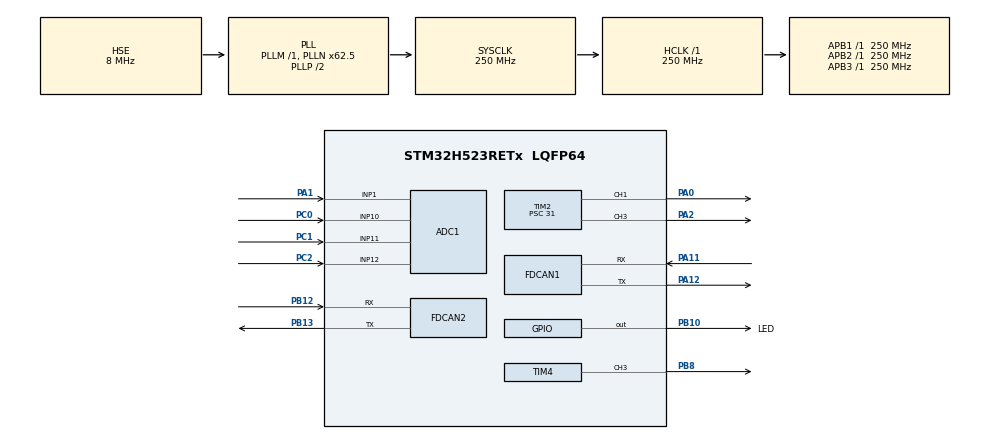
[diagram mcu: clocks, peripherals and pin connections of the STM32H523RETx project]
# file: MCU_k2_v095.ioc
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ADC1.Channel-1\#ChannelRegularConversion=ADC_CHANNEL_1
ADC1.Channel-2\#ChannelRegularConversion=ADC_CHANNEL_10
ADC1.Channel-3\#ChannelRegularConversion=ADC_CHANNEL_11
ADC1.Channel-4\#ChannelRegularConversion=ADC_CHANNEL_12
ADC1.ContinuousConvMode=ENABLE
ADC1.DMAContinuousRequests=ENABLE
ADC1.EOCSelection=ADC_EOC_SEQ_CONV
ADC1.MonitoredBy-1\#ChannelRegularConversion=__NULL
ADC1.MonitoredBy-2\#ChannelRegularConversion=__NULL
ADC1.MonitoredBy-3\#ChannelRegularConversion=__NULL
ADC1.MonitoredBy-4\#ChannelRegularConversion=__NULL
ADC1.NbrOfConversion=4
ADC1.NbrOfConversionFlag=1
ADC1.OffsetNumber-1\#ChannelRegularConversion=ADC_OFFSET_NONE
ADC1.OffsetNumber-2\#ChannelRegularConversion=ADC_OFFSET_NONE
ADC1.OffsetNumber-3\#ChannelRegularConversion=ADC_OFFSET_NONE
ADC1.OffsetNumber-4\#ChannelRegularConversion=ADC_OFFSET_NONE
ADC1.Rank-1\#ChannelRegularConversion=1
ADC1.Rank-2\#ChannelRegularConversion=2
ADC1.Rank-3\#ChannelRegularConversion=3
ADC1.Rank-4\#ChannelRegularConversion=4
ADC1.SamplingTime-1\#ChannelRegularConversion=ADC_SAMPLETIME_640CYCLES_5
ADC1.SamplingTime-2\#ChannelRegularConversion=ADC_SAMPLETIME_640CYCLES_5
ADC1.SamplingTime-3\#ChannelRegularConversion=ADC_SAMPLETIME_640CYCLES_5
ADC1.SamplingTime-4\#ChannelRegularConversion=ADC_SAMPLETIME_640CYCLES_5
ADC1.master=1
BOOTPATH.BootPathName=LEGACY
BOOTPATH.UserSelectedBootPath=LEGACY
CORTEX_M33_NS.userName=CORTEX_M33
FDCAN1.CalculateBaudRateNominal=250000
FDCAN1.CalculateTimeBitNominal=4000
FDCAN1.CalculateTimeQuantumNominal=1000.0
FDCAN1.DataTimeSeg1=21
FDCAN1.ExtFiltersNbr=1
FDCAN1.NominalPrescaler=8
FDCAN1.NominalTimeSeg1=2
FDCAN1.StdFiltersNbr=1
FDCAN2.CalculateBaudRateNominal=250000
FDCAN2.CalculateTimeBitNominal=4000
FDCAN2.CalculateTimeQuantumNominal=1000.0
FDCAN2.DataTimeSeg1=21
FDCAN2.ExtFiltersNbr=1
FDCAN2.NominalPrescaler=8
FDCAN2.NominalTimeSeg1=2
FDCAN2.StdFiltersNbr=1
GPDMA1.CIRCULARMODE_GPDMACH0=ENABLE
GPDMA1.DESTDATAWIDTH_GPDMACH0=DMA_DEST_DATAWIDTH_HALFWORD
GPDMA1.DESTINC_GPDMACH0=DMA_DINC_INCREMENTED
GPDMA1.IPHANDLE_GPDMACH0-SIMPLEREQUEST_GPDMACH0=__NULL
GPDMA1.REQUEST_GPDMACH0=GPDMA1_REQUEST_ADC1
GPDMA1.SRCDATAWIDTH_GPDMACH0=DMA_SRC_DATAWIDTH_HALFWORD
Mcu.Family=STM32H5
Mcu.Name=STM32H523RETx
Mcu.Package=LQFP64
NVIC.ADC1_IRQn=true\:10\:0\:true\:false\:true\:true\:true\:true
NVIC.FDCAN1_IT0_IRQn=true\:1\:0\:true\:false\:true\:true\:true\:true
NVIC.FDCAN2_IT0_IRQn=true\:2\:0\:true\:false\:true\:true\:true\:true
NVIC.GPDMA1_Channel0_IRQn=true\:9\:0\:true\:false\:true\:false\:true\:true
NVIC.PriorityGroup=NVIC_PRIORITYGROUP_4
PA0.Signal=S_TIM2_CH1
PA1.Signal=ADCx_INP1
PA11.GPIO_Speed=GPIO_SPEED_FREQ_VERY_HIGH
PA11.Mode=FDCAN_Activate
PA11.Signal=FDCAN1_RX
PA12.GPIO_Speed=GPIO_SPEED_FREQ_VERY_HIGH
PA12.Mode=FDCAN_Activate
PA12.Signal=FDCAN1_TX
PA2.Signal=S_TIM2_CH3
PB10.GPIO_Label=LED
PB10.Signal=GPIO_Output
PB12.GPIO_Speed=GPIO_SPEED_FREQ_VERY_HIGH
PB12.Mode=FDCAN_Activate
PB12.Signal=FDCAN2_RX
PB13.GPIO_Speed=GPIO_SPEED_FREQ_VERY_HIGH
PB13.Mode=FDCAN_Activate
PB13.Signal=FDCAN2_TX
PB8.Signal=S_TIM4_CH3
PC0.Signal=ADCx_INP10
PC1.Signal=ADCx_INP11
PC2.Signal=ADCx_INP12
PH0-OSC_IN(PH0).Mode=HSE-External-Oscillator
PH0-OSC_IN(PH0).Signal=RCC_OSC_IN
PH1-OSC_OUT(PH1).Mode=HSE-External-Oscillator
PH1-OSC_OUT(PH1).Signal=RCC_OSC_OUT
ProjectManager.HeapSize=0x200
ProjectManager.StackSize=0x400
ProjectManager.TargetToolchain=STM32CubeIDE
RCC.ADCFreq_Value=250000000
RCC.AHBFreq_Value=250000000
RCC.APB1Freq_Value=250000000
RCC.APB1TimFreq_Value=250000000
RCC.APB2Freq_Value=250000000
RCC.APB2TimFreq_Value=250000000
RCC.APB3Freq_Value=250000000
RCC.CSI_VALUE=4000000
RCC.CortexFreq_Value=250000000
RCC.EPOD_VALUE=8000000
RCC.HCLKFreq_Value=250000000
RCC.HSE_VALUE=8000000
RCC.HSI48_VALUE=48000000
RCC.HSI_VALUE=64000000
RCC.LSE_VALUE=32768
RCC.LSIRC_VALUE=32000
RCC.PLL1Q=125
RCC.PLL2FRACN=0
RCC.PLL2Source=RCC_PLL2_SOURCE_HSE
RCC.PLL3FRACN=0
RCC.PLL3Source=RCC_PLL3_SOURCE_HSE
RCC.PLLFRACN=4096
RCC.PLLN=62
RCC.PLLSourceVirtual=RCC_PLL1_SOURCE_HSE
RCC.SYSCLKFreq_VALUE=250000000
RCC.SYSCLKSource=RCC_SYSCLKSOURCE_PLLCLK
RCC.USBFreq_Value=48000000
RCC.VCOOutputFreq_Value=500000000
SH.ADCx_INP1.0=ADC1_INP1,IN1-Single-Ended
SH.ADCx_INP10.0=ADC1_INP10,IN10-Single-Ended
SH.ADCx_INP11.0=ADC1_INP11,IN11-Single-Ended
SH.ADCx_INP12.0=ADC1_INP12,IN12-Single-Ended
SH.S_TIM2_CH1.0=TIM2_CH1,PWM Generation1 CH1
SH.S_TIM2_CH3.0=TIM2_CH3,PWM Generation3 CH3
SH.S_TIM4_CH3.0=TIM4_CH3,PWM Generation3 CH3
TIM2.Channel-PWM\ Generation1\ CH1=TIM_CHANNEL_1
TIM2.Channel-PWM\ Generation3\ CH3=TIM_CHANNEL_3
TIM2.PeriodNoDither=99
TIM2.Prescaler=31
TIM4.Channel-PWM\ Generation3\ CH3=TIM_CHANNEL_3
TIM4.PeriodNoDither=99
TIM4.Prescaler=31
VP_BOOTPATH_VS_BOOTPATH.Mode=BP_Activate
VP_CORTEX_M33_NS_VS_Hclk.Mode=Hclk_Mode
VP_GPDMA1_VS_GPDMACH0.Mode=SIMPLEREQUEST_GPDMACH0
VP_MEMORYMAP_VS_MEMORYMAP.Mode=CurAppReg
VP_PWR_VS_LPOM.Mode=PowerOptimisation
VP_PWR_VS_SECSignals.Mode=Security/Privilege
VP_TIM2_VS_ClockSourceINT.Mode=Internal
VP_TIM4_VS_ClockSourceINT.Mode=Internal
board=custom

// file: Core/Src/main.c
/* USER CODE BEGIN Header */
/**
  ******************************************************************************
  * @file           : main.c
  * @brief          : Main program body
  ******************************************************************************
  * @attention
  *
  * Copyright (c) 2026 STMicroelectronics.
  * All rights reserved.
  *
  * This software is licensed under terms that can be found in the LICENSE file
  * in the root directory of this software component.
  * If no LICENSE file comes with this software, it is provided AS-IS.
  *
  ******************************************************************************
  */
/* USER CODE END Header */
#include "main.h"

/* USER CODE BEGIN Includes */
#include "backend.h"
#include "app.h"

/* USER CODE END Includes */

ADC_HandleTypeDef hadc1;
DMA_NodeTypeDef Node_GPDMA1_Channel0;
DMA_QListTypeDef List_GPDMA1_Channel0;
DMA_HandleTypeDef handle_GPDMA1_Channel0;

FDCAN_HandleTypeDef hfdcan1;
FDCAN_HandleTypeDef hfdcan2;

TIM_HandleTypeDef htim2;
TIM_HandleTypeDef htim4;

void SystemClock_Config(void);
static void MX_GPIO_Init(void);
static void MX_GPDMA1_Init(void);
static void MX_ADC1_Init(void);
static void MX_FDCAN1_Init(void);
static void MX_FDCAN2_Init(void);
static void MX_TIM4_Init(void);
static void MX_TIM2_Init(void);

/* USER CODE BEGIN 0 */

static void FDCAN_StartAll(void)
{
  FDCAN_FilterTypeDef sFilter;

  sFilter.IdType = FDCAN_EXTENDED_ID;
  sFilter.FilterIndex = 0;
  sFilter.FilterType = FDCAN_FILTER_MASK;
  sFilter.FilterConfig = FDCAN_FILTER_TO_RXFIFO0;
  sFilter.FilterID1 = 0x00000000u;
  sFilter.FilterID2 = 0x00000000u;

  HAL_FDCAN_ConfigFilter(&hfdcan1, &sFilter);
  HAL_FDCAN_ConfigFilter(&hfdcan2, &sFilter);

  HAL_FDCAN_Start(&hfdcan1);
  HAL_FDCAN_Start(&hfdcan2);

  HAL_FDCAN_ActivateNotification(
      &hfdcan1,
      FDCAN_IT_RX_FIFO0_NEW_MESSAGE |
          FDCAN_IT_BUS_OFF |
          FDCAN_IT_ERROR_WARNING |
          FDCAN_IT_ERROR_PASSIVE,
      0);

  HAL_FDCAN_ActivateNotification(
      &hfdcan2,
      FDCAN_IT_RX_FIFO0_NEW_MESSAGE |
          FDCAN_IT_BUS_OFF |
          FDCAN_IT_ERROR_WARNING |
          FDCAN_IT_ERROR_PASSIVE,
      0);
}

void USBSendData(uint8_t *Buf)
{
  (void)Buf;
}

typedef struct {
  uint32_t id;
  uint8_t data[8];
  uint8_t bus; /* маска BUS_CAN0/BUS_CAN1 */
} CanTxEntry;

#define CAN_TX_RING_SIZE 256
static CanTxEntry can_tx_ring[CAN_TX_RING_SIZE];
static volatile uint8_t can_tx_head = 0;
static volatile uint8_t can_tx_tail = 0;

static void CanTxEnqueue(uint32_t id, const uint8_t *data, uint8_t busMask)
{
  uint8_t next = (uint8_t)(can_tx_head + 1u);
  if (next >= CAN_TX_RING_SIZE) {
    next = 0u;
  }

  /* При переполнении затираем самый старый пакет */
  if (next == can_tx_tail) {
    can_tx_tail++;
    if (can_tx_tail >= CAN_TX_RING_SIZE) {
      can_tx_tail = 0u;
    }
  }

  can_tx_ring[can_tx_head].id = id;
  can_tx_ring[can_tx_head].bus = busMask;
  for (uint8_t i = 0; i < 8u; i++) {
    can_tx_ring[can_tx_head].data[i] = data[i];
  }
  can_tx_head = next;
}

void App_CanTxProcess(void)
{
  while (can_tx_head != can_tx_tail) {
    CanTxEntry *e = &can_tx_ring[can_tx_tail];
    FDCAN_TxHeaderTypeDef txHeader;

    txHeader.Identifier = e->id;
    txHeader.IdType = FDCAN_EXTENDED_ID;
    txHeader.TxFrameType = FDCAN_DATA_FRAME;
    txHeader.DataLength = FDCAN_DLC_BYTES_8;
    txHeader.ErrorStateIndicator = FDCAN_ESI_ACTIVE;
    txHeader.BitRateSwitch = FDCAN_BRS_OFF;
    txHeader.FDFormat = FDCAN_CLASSIC_CAN;
    txHeader.TxEventFifoControl = FDCAN_NO_TX_EVENTS;
    txHeader.MessageMarker = 0;

    uint8_t sent = 0u;

    if (e->bus & BUS_CAN0) {
      if (HAL_FDCAN_GetTxFifoFreeLevel(&hfdcan1) > 0U) {
        if (HAL_FDCAN_AddMessageToTxFifoQ(&hfdcan1, &txHeader, e->data) == HAL_OK) {
          sent = 1u;
        }
      }
    }
    if (e->bus & BUS_CAN1) {
      if (HAL_FDCAN_GetTxFifoFreeLevel(&hfdcan2) > 0U) {
        if (HAL_FDCAN_AddMessageToTxFifoQ(&hfdcan2, &txHeader, e->data) == HAL_OK) {
          sent = 1u;
        }
      }
    }

    if (sent == 0u) {
      break;
    }

    can_tx_tail++;
    if (can_tx_tail >= CAN_TX_RING_SIZE) {
      can_tx_tail = 0u;
    }
  }
}

void CANSendData(uint8_t *Buf)
{
  uint32_t id = (*(uint32_t *)Buf);
  uint8_t bus = Buf[4 + 8];
  CanTxEnqueue(id, &Buf[4], bus);
}

void HAL_FDCAN_RxFifo0Callback(FDCAN_HandleTypeDef *hfdcan, uint32_t RxFifo0ITs)
{
  if ((RxFifo0ITs & FDCAN_IT_RX_FIFO0_NEW_MESSAGE) == 0U) {
    return;
  }

  FDCAN_RxHeaderTypeDef rxHeader;
  uint8_t data[8];

  uint8_t src_bus;
  uint8_t dst_bus_mask;

  if (hfdcan == &hfdcan1) {
    src_bus = BUS_CAN0;
    dst_bus_mask = BUS_CAN1;
    App_CanOnRx(1u);
  } else {
    src_bus = BUS_CAN1;
    dst_bus_mask = BUS_CAN0;
    App_CanOnRx(2u);
  }

  while (HAL_FDCAN_GetRxFifoFillLevel(hfdcan, FDCAN_RX_FIFO0) > 0U) {
    if (HAL_FDCAN_GetRxMessage(hfdcan, FDCAN_RX_FIFO0, &rxHeader, data) != HAL_OK) {
      break;
    }
    if (rxHeader.IdType != FDCAN_EXTENDED_ID) {
      continue;
    }

    /* Ретрансляция на другой CAN через очередь, если разрешено */
    if (GetRetranslate() == 0) {
      CanTxEnqueue(rxHeader.Identifier, data, dst_bus_mask);
    }

    App_CanRxPush(rxHeader.Identifier, data, src_bus);
  }
}

void HAL_FDCAN_ErrorStatusCallback(FDCAN_HandleTypeDef *hfdcan, uint32_t ErrorStatusITs)
{
  if ((ErrorStatusITs & FDCAN_IT_BUS_OFF) != RESET) {
    FDCAN_ProtocolStatusTypeDef protocolStatus = {};
    HAL_FDCAN_GetProtocolStatus(hfdcan, &protocolStatus);

    if (protocolStatus.BusOff) {
      uint16_t try_cnt = 0xFFFF;
      /* Вход в INIT */
      SET_BIT(hfdcan->Instance->CCCR, FDCAN_CCCR_INIT);
      while (((hfdcan->Instance->CCCR & FDCAN_CCCR_INIT) == 0U) && (try_cnt--)) {}
      /* Выход из INIT */
      CLEAR_BIT(hfdcan->Instance->CCCR, FDCAN_CCCR_INIT);
      while (((hfdcan->Instance->CCCR & FDCAN_CCCR_INIT) != 0U) && (try_cnt--)) {}
    }
  }
}

/* USER CODE END 0 */

int main(void)
{

  /* MCU Configuration--------------------------------------------------------*/

  /* Reset of all peripherals, Initializes the Flash interface and the Systick. */
  HAL_Init();

  /* Configure the system clock */
  SystemClock_Config();

  /* Initialize all configured peripherals */
  MX_GPIO_Init();
  MX_GPDMA1_Init();
  MX_ADC1_Init();
  MX_FDCAN1_Init();
  MX_FDCAN2_Init();
  MX_TIM4_Init();
  MX_TIM2_Init();
  /* USER CODE BEGIN 2 */
  HAL_SetTickFreq(HAL_TICK_FREQ_1KHZ);
  FDCAN_StartAll();
  HAL_ADC_Start_DMA(&hadc1, (uint32_t *)MCU_K2_ADC_VAL, MCU_K2_NUM_ADC_CHANNEL);
  App_Init();

  /* USER CODE END 2 */

  /* Infinite loop */
  while (1)
  {

    /* USER CODE BEGIN 3 */
	    static uint32_t last_tick = 0;
	    uint32_t now = HAL_GetTick();
	    if (now != last_tick) {
	      last_tick = now;
	      App_Timer1ms();
	    }
    App_CanTxProcess();
    /* USER CODE END 3 */
  }
}

void SystemClock_Config(void)
{
  RCC_OscInitTypeDef RCC_OscInitStruct = {0};
  RCC_ClkInitTypeDef RCC_ClkInitStruct = {0};

  /** Configure the main internal regulator output voltage
  */
  __HAL_PWR_VOLTAGESCALING_CONFIG(PWR_REGULATOR_VOLTAGE_SCALE0);

  while(!__HAL_PWR_GET_FLAG(PWR_FLAG_VOSRDY)) {}

  /** Initializes the RCC Oscillators according to the specified parameters
  * in the RCC_OscInitTypeDef structure.
  */
  RCC_OscInitStruct.OscillatorType = RCC_OSCILLATORTYPE_HSE;
  RCC_OscInitStruct.HSEState = RCC_HSE_ON;
  RCC_OscInitStruct.PLL.PLLState = RCC_PLL_ON;
  RCC_OscInitStruct.PLL.PLLSource = RCC_PLL1_SOURCE_HSE;
  RCC_OscInitStruct.PLL.PLLM = 1;
  RCC_OscInitStruct.PLL.PLLN = 62;
  RCC_OscInitStruct.PLL.PLLP = 2;
  RCC_OscInitStruct.PLL.PLLQ = 125;
  RCC_OscInitStruct.PLL.PLLR = 2;
  RCC_OscInitStruct.PLL.PLLRGE = RCC_PLL1_VCIRANGE_3;
  RCC_OscInitStruct.PLL.PLLVCOSEL = RCC_PLL1_VCORANGE_WIDE;
  RCC_OscInitStruct.PLL.PLLFRACN = 4096;
  if (HAL_RCC_OscConfig(&RCC_OscInitStruct) != HAL_OK)
  {
    Error_Handler();
  }

  /** Initializes the CPU, AHB and APB buses clocks
  */
  RCC_ClkInitStruct.ClockType = RCC_CLOCKTYPE_HCLK|RCC_CLOCKTYPE_SYSCLK
                              |RCC_CLOCKTYPE_PCLK1|RCC_CLOCKTYPE_PCLK2
                              |RCC_CLOCKTYPE_PCLK3;
  RCC_ClkInitStruct.SYSCLKSource = RCC_SYSCLKSOURCE_PLLCLK;
  RCC_ClkInitStruct.AHBCLKDivider = RCC_SYSCLK_DIV1;
  RCC_ClkInitStruct.APB1CLKDivider = RCC_HCLK_DIV1;
  RCC_ClkInitStruct.APB2CLKDivider = RCC_HCLK_DIV1;
  RCC_ClkInitStruct.APB3CLKDivider = RCC_HCLK_DIV1;

  if (HAL_RCC_ClockConfig(&RCC_ClkInitStruct, FLASH_LATENCY_5) != HAL_OK)
  {
    Error_Handler();
  }

  /** Configure the programming delay
  */
  __HAL_FLASH_SET_PROGRAM_DELAY(FLASH_PROGRAMMING_DELAY_2);
}

static void MX_ADC1_Init(void)
{

  ADC_ChannelConfTypeDef sConfig = {0};

  /** Common config
  */
  hadc1.Instance = ADC1;
  hadc1.Init.ClockPrescaler = ADC_CLOCK_ASYNC_DIV4;
  hadc1.Init.Resolution = ADC_RESOLUTION_12B;
  hadc1.Init.DataAlign = ADC_DATAALIGN_RIGHT;
  hadc1.Init.ScanConvMode = ADC_SCAN_ENABLE;
  hadc1.Init.EOCSelection = ADC_EOC_SEQ_CONV;
  hadc1.Init.LowPowerAutoWait = DISABLE;
  hadc1.Init.ContinuousConvMode = ENABLE;
  hadc1.Init.NbrOfConversion = 4;
  hadc1.Init.DiscontinuousConvMode = DISABLE;
  hadc1.Init.ExternalTrigConv = ADC_SOFTWARE_START;
  hadc1.Init.ExternalTrigConvEdge = ADC_EXTERNALTRIGCONVEDGE_NONE;
  hadc1.Init.DMAContinuousRequests = ENABLE;
  hadc1.Init.SamplingMode = ADC_SAMPLING_MODE_NORMAL;
  hadc1.Init.Overrun = ADC_OVR_DATA_PRESERVED;
  hadc1.Init.OversamplingMode = DISABLE;
  if (HAL_ADC_Init(&hadc1) != HAL_OK)
  {
    Error_Handler();
  }

  /** Configure Regular Channel
  */
  sConfig.Channel = ADC_CHANNEL_1;
  sConfig.Rank = ADC_REGULAR_RANK_1;
  sConfig.SamplingTime = ADC_SAMPLETIME_640CYCLES_5;
  sConfig.SingleDiff = ADC_SINGLE_ENDED;
  sConfig.OffsetNumber = ADC_OFFSET_NONE;
  sConfig.Offset = 0;
  if (HAL_ADC_ConfigChannel(&hadc1, &sConfig) != HAL_OK)
  {
    Error_Handler();
  }

  /** Configure Regular Channel
  */
  sConfig.Channel = ADC_CHANNEL_10;
  sConfig.Rank = ADC_REGULAR_RANK_2;
  if (HAL_ADC_ConfigChannel(&hadc1, &sConfig) != HAL_OK)
  {
    Error_Handler();
  }

  /** Configure Regular Channel
  */
  sConfig.Channel = ADC_CHANNEL_11;
  sConfig.Rank = ADC_REGULAR_RANK_3;
  if (HAL_ADC_ConfigChannel(&hadc1, &sConfig) != HAL_OK)
  {
    Error_Handler();
  }

  /** Configure Regular Channel
  */
  sConfig.Channel = ADC_CHANNEL_12;
  sConfig.Rank = ADC_REGULAR_RANK_4;
  if (HAL_ADC_ConfigChannel(&hadc1, &sConfig) != HAL_OK)
  {
    Error_Handler();
  }

}

static void MX_FDCAN1_Init(void)
{

  hfdcan1.Instance = FDCAN1;
  hfdcan1.Init.ClockDivider = FDCAN_CLOCK_DIV1;
  hfdcan1.Init.FrameFormat = FDCAN_FRAME_CLASSIC;
  hfdcan1.Init.Mode = FDCAN_MODE_NORMAL;
  hfdcan1.Init.AutoRetransmission = DISABLE;
  hfdcan1.Init.TransmitPause = DISABLE;
  hfdcan1.Init.ProtocolException = DISABLE;
  hfdcan1.Init.NominalPrescaler = 8;
  hfdcan1.Init.NominalSyncJumpWidth = 1;
  hfdcan1.Init.NominalTimeSeg1 = 2;
  hfdcan1.Init.NominalTimeSeg2 = 1;
  hfdcan1.Init.DataPrescaler = 1;
  hfdcan1.Init.DataSyncJumpWidth = 1;
  hfdcan1.Init.DataTimeSeg1 = 21;
  hfdcan1.Init.DataTimeSeg2 = 1;
  hfdcan1.Init.StdFiltersNbr = 1;
  hfdcan1.Init.ExtFiltersNbr = 1;
  hfdcan1.Init.TxFifoQueueMode = FDCAN_TX_FIFO_OPERATION;
  if (HAL_FDCAN_Init(&hfdcan1) != HAL_OK)
  {
    Error_Handler();
  }

}

static void MX_FDCAN2_Init(void)
{

  hfdcan2.Instance = FDCAN2;
  hfdcan2.Init.ClockDivider = FDCAN_CLOCK_DIV1;
  hfdcan2.Init.FrameFormat = FDCAN_FRAME_CLASSIC;
  hfdcan2.Init.Mode = FDCAN_MODE_NORMAL;
  hfdcan2.Init.AutoRetransmission = DISABLE;
  hfdcan2.Init.TransmitPause = DISABLE;
  hfdcan2.Init.ProtocolException = DISABLE;
  hfdcan2.Init.NominalPrescaler = 8;
  hfdcan2.Init.NominalSyncJumpWidth = 1;
  hfdcan2.Init.NominalTimeSeg1 = 2;
  hfdcan2.Init.NominalTimeSeg2 = 1;
  hfdcan2.Init.DataPrescaler = 1;
  hfdcan2.Init.DataSyncJumpWidth = 1;
  hfdcan2.Init.DataTimeSeg1 = 21;
  hfdcan2.Init.DataTimeSeg2 = 1;
  hfdcan2.Init.StdFiltersNbr = 1;
  hfdcan2.Init.ExtFiltersNbr = 1;
  hfdcan2.Init.TxFifoQueueMode = FDCAN_TX_FIFO_OPERATION;
  if (HAL_FDCAN_Init(&hfdcan2) != HAL_OK)
  {
    Error_Handler();
  }

}

static void MX_GPDMA1_Init(void)
{

  /* Peripheral clock enable */
  __HAL_RCC_GPDMA1_CLK_ENABLE();

  /* GPDMA1 interrupt Init */
    HAL_NVIC_SetPriority(GPDMA1_Channel0_IRQn, 9, 0);
    HAL_NVIC_EnableIRQ(GPDMA1_Channel0_IRQn);

}

static void MX_TIM2_Init(void)
{

  TIM_ClockConfigTypeDef sClockSourceConfig = {0};
  TIM_MasterConfigTypeDef sMasterConfig = {0};
  TIM_OC_InitTypeDef sConfigOC = {0};

  htim2.Instance = TIM2;
  htim2.Init.Prescaler = 31;
  htim2.Init.CounterMode = TIM_COUNTERMODE_UP;
  htim2.Init.Period = 99;
  htim2.Init.ClockDivision = TIM_CLOCKDIVISION_DIV1;
  htim2.Init.AutoReloadPreload = TIM_AUTORELOAD_PRELOAD_DISABLE;
  if (HAL_TIM_Base_Init(&htim2) != HAL_OK)
  {
    Error_Handler();
  }
  sClockSourceConfig.ClockSource = TIM_CLOCKSOURCE_INTERNAL;
  if (HAL_TIM_ConfigClockSource(&htim2, &sClockSourceConfig) != HAL_OK)
  {
    Error_Handler();
  }
  if (HAL_TIM_PWM_Init(&htim2) != HAL_OK)
  {
    Error_Handler();
  }
  sMasterConfig.MasterOutputTrigger = TIM_TRGO_RESET;
  sMasterConfig.MasterSlaveMode = TIM_MASTERSLAVEMODE_DISABLE;
  if (HAL_TIMEx_MasterConfigSynchronization(&htim2, &sMasterConfig) != HAL_OK)
  {
    Error_Handler();
  }
  sConfigOC.OCMode = TIM_OCMODE_PWM1;
  sConfigOC.Pulse = 0;
  sConfigOC.OCPolarity = TIM_OCPOLARITY_HIGH;
  sConfigOC.OCFastMode = TIM_OCFAST_DISABLE;
  if (HAL_TIM_PWM_ConfigChannel(&htim2, &sConfigOC, TIM_CHANNEL_1) != HAL_OK)
  {
    Error_Handler();
  }
  if (HAL_TIM_PWM_ConfigChannel(&htim2, &sConfigOC, TIM_CHANNEL_3) != HAL_OK)
  {
    Error_Handler();
  }
  HAL_TIM_MspPostInit(&htim2);

}

static void MX_TIM4_Init(void)
{

  TIM_ClockConfigTypeDef sClockSourceConfig = {0};
  TIM_MasterConfigTypeDef sMasterConfig = {0};
  TIM_OC_InitTypeDef sConfigOC = {0};

  htim4.Instance = TIM4;
  htim4.Init.Prescaler = 31;
  htim4.Init.CounterMode = TIM_COUNTERMODE_UP;
  htim4.Init.Period = 99;
  htim4.Init.ClockDivision = TIM_CLOCKDIVISION_DIV1;
  htim4.Init.AutoReloadPreload = TIM_AUTORELOAD_PRELOAD_DISABLE;
  if (HAL_TIM_Base_Init(&htim4) != HAL_OK)
  {
    Error_Handler();
  }
  sClockSourceConfig.ClockSource = TIM_CLOCKSOURCE_INTERNAL;
  if (HAL_TIM_ConfigClockSource(&htim4, &sClockSourceConfig) != HAL_OK)
  {
    Error_Handler();
  }
  if (HAL_TIM_PWM_Init(&htim4) != HAL_OK)
  {
    Error_Handler();
  }
  sMasterConfig.MasterOutputTrigger = TIM_TRGO_RESET;
  sMasterConfig.MasterSlaveMode = TIM_MASTERSLAVEMODE_DISABLE;
  if (HAL_TIMEx_MasterConfigSynchronization(&htim4, &sMasterConfig) != HAL_OK)
  {
    Error_Handler();
  }
  sConfigOC.OCMode = TIM_OCMODE_PWM1;
  sConfigOC.Pulse = 0;
  sConfigOC.OCPolarity = TIM_OCPOLARITY_HIGH;
  sConfigOC.OCFastMode = TIM_OCFAST_DISABLE;
  if (HAL_TIM_PWM_ConfigChannel(&htim4, &sConfigOC, TIM_CHANNEL_3) != HAL_OK)
  {
    Error_Handler();
  }
  HAL_TIM_MspPostInit(&htim4);

}

static void MX_GPIO_Init(void)
{
  GPIO_InitTypeDef GPIO_InitStruct = {0};

  /* GPIO Ports Clock Enable */
  __HAL_RCC_GPIOH_CLK_ENABLE();
  __HAL_RCC_GPIOC_CLK_ENABLE();
  __HAL_RCC_GPIOA_CLK_ENABLE();
  __HAL_RCC_GPIOB_CLK_ENABLE();

  /*Configure GPIO pin Output Level */
  HAL_GPIO_WritePin(LED_GPIO_Port, LED_Pin, GPIO_PIN_RESET);

  /*Configure GPIO pin : LED_Pin */
  GPIO_InitStruct.Pin = LED_Pin;
  GPIO_InitStruct.Mode = GPIO_MODE_OUTPUT_PP;
  GPIO_InitStruct.Pull = GPIO_NOPULL;
  GPIO_InitStruct.Speed = GPIO_SPEED_FREQ_LOW;
  HAL_GPIO_Init(LED_GPIO_Port, &GPIO_InitStruct);

}

void Error_Handler(void)
{
  __disable_irq();
  while (1)
  {
  }
}
